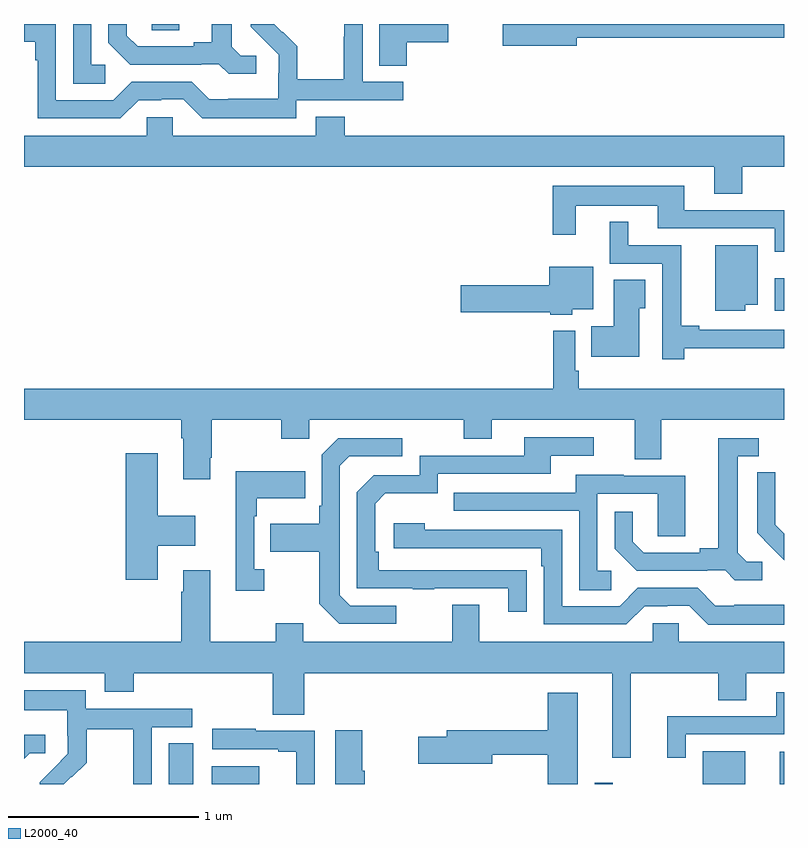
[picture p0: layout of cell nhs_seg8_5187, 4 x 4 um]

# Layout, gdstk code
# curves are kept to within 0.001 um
import gdstk
lib = gdstk.Library(unit=1e-6, precision=1e-09)
def R(c, l, rs):  # rectangles x0, y0, x1, y1
    for r in rs: c.add(gdstk.rectangle(r[:2], r[2:], *l))
def P(c, l, *ps):  # polygons
    for p in ps: c.add(gdstk.Polygon(p, *l))
L2000_40 = (2000, 40)

nhs_seg8_5187 = lib.new_cell('nhs_seg8_5187')
R(nhs_seg8_5187, L2000_40, [(423.761,1131.9,423.892,1132.115), (423.989,1131.9,424.237,1131.994), (426.003,1131.9,426.099,1131.907), (426.572,1131.9,426.796,1132.072), (426.977,1131.9,427,1132.071), (426.95,1134.392,427,1134.562), (423.672,1135.867,423.817,1135.9)])
P(nhs_seg8_5187, L2000_40, [(423.427,1135.686),(423.354,1135.686),(423.354,1135.9),(423.258,1135.9),(423.258,1135.585),(423.427,1135.585)],
  [(425.015,1135.805),(425.233,1135.805),(425.233,1135.9),(424.871,1135.9),(424.871,1135.681),(425.015,1135.681)],
  [(425.908,1135.828),(427,1135.828),(427,1135.9),(425.52,1135.9),(425.52,1135.786),(425.908,1135.786)],
  [(424.434,1135.5),(424.996,1135.5),(424.996,1135.596),(424.782,1135.596),(424.782,1135.9),(424.686,1135.9),(424.686,1135.832),(424.684,1135.832),(424.684,1135.609),(424.439,1135.609),(424.439,1135.783),(424.362,1135.86),(424.359,1135.857),(424.317,1135.9),(424.194,1135.9),(424.194,1135.886),(424.34,1135.738),(424.34,1135.641),(424.338,1135.641),(424.338,1135.507),(424.075,1135.507),(424.075,1135.503),(423.975,1135.503),(423.882,1135.596),(423.567,1135.596),(423.471,1135.5),(423.168,1135.5),(423.168,1135.9),(423,1135.9),(423,1135.806),(423.059,1135.806),(423.059,1135.709),(423.072,1135.709),(423.072,1135.404),(423.507,1135.404),(423.603,1135.5),(423.722,1135.5),(423.722,1135.503),(423.837,1135.503),(423.937,1135.403),(424.434,1135.403)],
  [(424.222,1135.734),(424.14,1135.734),(424.093,1135.781),(424.093,1135.9),(423.989,1135.9),(423.989,1135.805),(423.893,1135.805),(423.893,1135.782),(423.598,1135.782),(423.541,1135.839),(423.541,1135.9),(423.444,1135.9),(423.444,1135.802),(423.56,1135.686),(423.932,1135.686),(423.932,1135.689),(424.026,1135.689),(424.078,1135.637),(424.222,1135.637)],
  [(426.78,1135.148),(427,1135.148),(427,1135.312),(424.688,1135.312),(424.688,1135.411),(424.535,1135.411),(424.535,1135.312),(423.783,1135.312),(423.783,1135.41),(423.645,1135.41),(423.645,1135.312),(423,1135.312),(423,1135.148),(426.632,1135.148),(426.632,1135.006),(426.78,1135.006)],
  [(427,1134.921),(426.475,1134.921),(426.475,1135.048),(425.784,1135.048),(425.784,1134.792),(425.905,1134.792),(425.905,1134.944),(426.335,1134.944),(426.335,1134.825),(426.951,1134.825),(426.951,1134.702),(427,1134.702)],
  [(426.476,1134.194),(427,1134.194),(427,1134.291),(426.553,1134.291),(426.553,1134.311),(426.458,1134.311),(426.458,1134.735),(426.181,1134.735),(426.181,1134.859),(426.083,1134.859),(426.083,1134.639),(426.36,1134.639),(426.36,1134.135),(426.476,1134.135)],
  [(426.796,1134.422),(426.862,1134.422),(426.862,1134.736),(426.638,1134.736),(426.638,1134.392),(426.796,1134.392)],
  [(425.886,1134.398),(425.995,1134.398),(425.995,1134.622),(425.765,1134.622),(425.765,1134.524),(425.298,1134.524),(425.298,1134.382),(425.769,1134.382),(425.769,1134.371),(425.886,1134.371)],
  [(426.238,1134.403),(426.271,1134.403),(426.271,1134.554),(426.104,1134.554),(426.104,1134.31),(425.986,1134.31),(425.986,1134.149),(426.238,1134.149)],
  [(423.979,1133.617),(423.987,1133.617),(423.987,1133.816),(424.354,1133.816),(424.354,1133.717),(424.5,1133.717),(424.5,1133.816),(425.314,1133.816),(425.314,1133.717),(425.461,1133.717),(425.461,1133.816),(426.215,1133.816),(426.215,1133.608),(426.355,1133.608),(426.355,1133.816),(427,1133.816),(427,1133.98),(425.921,1133.98),(425.921,1134.076),(425.901,1134.076),(425.901,1134.286),(425.785,1134.286),(425.785,1133.98),(423,1133.98),(423,1133.816),(423.827,1133.816),(423.827,1133.72),(423.839,1133.72),(423.839,1133.505),(423.979,1133.505)],
  [(425.645,1133.024),(424.868,1133.025),(424.868,1133.122),(424.848,1133.122),(424.848,1133.376),(424.901,1133.429),(425.178,1133.429),(425.178,1133.532),(425.773,1133.532),(425.773,1133.628),(425.998,1133.628),(425.998,1133.724),(425.633,1133.724),(425.633,1133.628),(425.082,1133.628),(425.082,1133.526),(424.842,1133.526),(424.752,1133.436),(424.752,1132.929),(425.047,1132.929),(425.047,1132.924),(425.159,1132.924),(425.159,1132.929),(425.549,1132.929),(425.549,1132.806),(425.645,1132.806)],
  [(426.886,1133.07),(426.804,1133.07),(426.757,1133.117),(426.757,1133.625),(426.868,1133.625),(426.868,1133.721),(426.653,1133.721),(426.653,1133.141),(426.557,1133.141),(426.557,1133.118),(426.262,1133.118),(426.205,1133.175),(426.205,1133.332),(426.108,1133.332),(426.108,1133.138),(426.224,1133.022),(426.596,1133.022),(426.596,1133.025),(426.69,1133.025),(426.742,1132.973),(426.886,1132.973)],
  [(424.96,1132.839),(424.716,1132.839),(424.662,1132.893),(424.662,1133.574),(424.713,1133.625),(424.99,1133.625),(424.99,1133.721),(424.653,1133.721),(424.566,1133.634),(424.566,1133.365),(424.554,1133.365),(424.554,1133.269),(424.297,1133.269),(424.297,1133.122),(424.554,1133.122),(424.554,1132.849),(424.659,1132.743),(424.96,1132.743)],
  [(423.703,1133.153),(423.901,1133.153),(423.901,1133.311),(423.703,1133.311),(423.703,1133.641),(423.536,1133.641),(423.536,1132.974),(423.703,1132.974)],
  [(424.264,1133.03),(424.212,1133.03),(424.212,1133.309),(424.225,1133.309),(424.225,1133.405),(424.481,1133.405),(424.481,1133.545),(424.115,1133.545),(424.115,1132.917),(424.264,1132.917)],
  [(427,1133.216),(426.953,1133.264),(426.953,1133.386),(426.954,1133.386),(426.954,1133.54),(426.858,1133.54),(426.858,1133.222),(426.931,1133.149),(426.93,1133.148),(427,1133.078)],
  [(426.091,1133.022),(426.018,1133.022),(426.018,1133.427),(426.336,1133.427),(426.336,1133.203),(426.481,1133.203),(426.481,1133.523),(426.157,1133.523),(426.157,1133.527),(425.903,1133.527),(425.903,1133.433),(425.263,1133.433),(425.263,1133.337),(425.922,1133.337),(425.922,1132.921),(426.091,1132.921)],
  [(427,1132.843),(426.739,1132.843),(426.739,1132.839),(426.639,1132.839),(426.546,1132.932),(426.231,1132.932),(426.135,1132.836),(425.832,1132.836),(425.832,1133.238),(425.108,1133.238),(425.108,1133.272),(424.947,1133.272),(424.947,1133.142),(425.723,1133.142),(425.723,1133.045),(425.736,1133.045),(425.736,1132.74),(426.171,1132.74),(426.267,1132.836),(426.386,1132.836),(426.386,1132.839),(426.501,1132.839),(426.601,1132.739),(427,1132.739)],
  [(426.194,1132.484),(426.655,1132.484),(426.655,1132.342),(426.802,1132.342),(426.802,1132.484),(427,1132.484),(427,1132.648),(426.447,1132.648),(426.447,1132.746),(426.309,1132.746),(426.309,1132.648),(425.395,1132.648),(425.395,1132.843),(425.255,1132.843),(425.255,1132.648),(424.471,1132.648),(424.471,1132.747),(424.324,1132.747),(424.324,1132.648),(423.979,1132.648),(423.979,1133.026),(423.839,1133.026),(423.839,1132.913),(423.827,1132.913),(423.827,1132.648),(423,1132.648),(423,1132.484),(423.425,1132.484),(423.425,1132.385),(423.578,1132.385),(423.578,1132.484),(424.309,1132.484),(424.309,1132.264),(424.475,1132.264),(424.475,1132.484),(426.095,1132.484),(426.095,1132.038),(426.194,1132.038)],
  [(423.249,1131.939),(423.252,1131.936),(423.329,1132.013),(423.329,1132.188),(423.574,1132.188),(423.574,1131.964),(423.576,1131.964),(423.576,1131.9),(423.672,1131.9),(423.672,1132.2),(423.886,1132.2),(423.886,1132.296),(423.324,1132.296),(423.324,1132.393),(423,1132.393),(423,1132.289),(423.228,1132.289),(423.228,1132.155),(423.23,1132.155),(423.23,1132.058),(423.084,1131.91),(423.084,1131.9),(423.21,1131.9)],
  [(426.483,1132.161),(427,1132.161),(427,1132.384),(426.959,1132.384),(426.959,1132.257),(426.386,1132.257),(426.386,1132.038),(426.483,1132.038)],
  [(425.914,1132.381),(425.756,1132.381),(425.756,1132.183),(425.225,1132.183),(425.225,1132.149),(425.076,1132.149),(425.076,1132.007),(425.464,1132.007),(425.464,1132.054),(425.756,1132.054),(425.756,1131.9),(425.914,1131.9)],
  [(424.53,1132.179),(424.22,1132.179),(424.22,1132.192),(423.99,1132.192),(423.99,1132.083),(424.337,1132.083),(424.337,1132.071),(424.433,1132.071),(424.433,1131.9),(424.53,1131.9)],
  [(424.793,1131.97),(424.78,1131.97),(424.78,1132.183),(424.637,1132.183),(424.637,1131.9),(424.793,1131.9)],
  [(423.03,1132.062),(423.112,1132.062),(423.112,1132.159),(423,1132.159),(423,1132.032)])

lib.write_gds('nhs_seg8_5187.gds')
